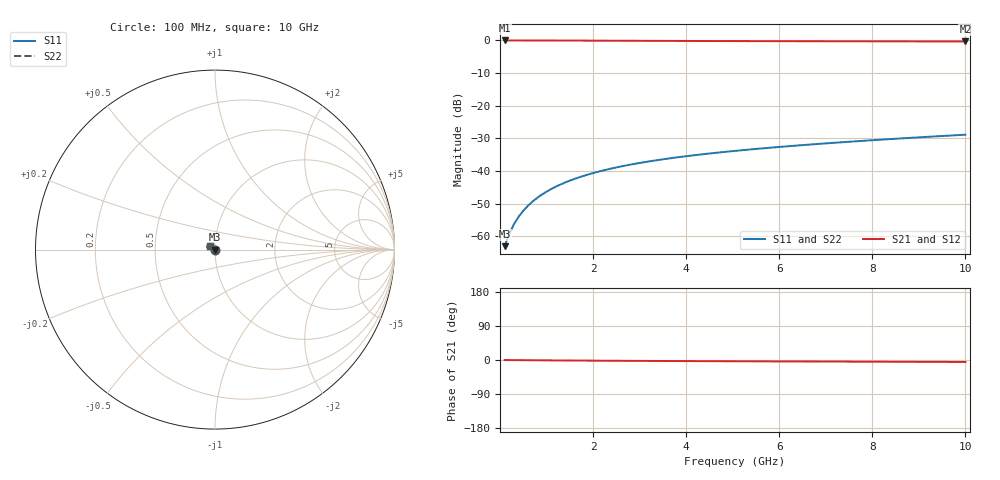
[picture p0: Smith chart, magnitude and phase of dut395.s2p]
! Touchstone file exported from HFSS 2024.1.0
!  File:  C:/UserFiles/LocalFiles/RDL_TSV_Batchsim/temp_TSV1_395_1779624209.aedt
!  Generated:  08:12:36 PM May 24, 2026
!  Design:  TSV1
!  Project:  temp_TSV1_395_1779624209
!  Setup:  Setup1
!  Solution:  Sweep
! Variables:
!  dtsv = 5.08um
!  hbump = 3um
!  htsv = 76.85um
!  lrdl = 252.1521522um
!  p = 40
!  p1 = 45.88um
!  t = 500um
!  trdl = 3um
!  wrdl = 24.89489489um
# GHz S MA R 50.000000
! Terminal data exported
! Port[1] = TSV22_T1
! Port[2] = TSV22_T2
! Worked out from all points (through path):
!   100 points, 100 MHz to 10 GHz, reference 50 ohm
!   highest |S21| = 0.00 dB at 100 MHz (marker M1); lowest = -0.3 dB at 10 GHz (marker M2)
!   lowest |S11| = -63.0 dB at 100 MHz (marker M3), VSWR 1.00, Z = 50.1 - j0.0499 ohm
!   |S11| at or under -10 dB: start of sweep to end of sweep
!   |S22| runs from -63.0 to -28.9 dB; largest |S21 - S12| = 5.1e-15
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0.1  0.000708 -44.8  0.9995 -0.1  0.9995 -0.1  0.000708 -44.8
! Gamma 0 0 0 0
! Port Impedance 50 0 50 0
0.2  0.001089 -66.2  0.9994 -0.2  0.9994 -0.2  0.001089 -66.2
0.3  0.001529 -77.3  0.9993 -0.3  0.9993 -0.3  0.001529 -77.3
0.4  0.001991 -84.4  0.9991 -0.4  0.9991 -0.4  0.001991 -84.4
0.5  0.002462 -89.7  0.9989 -0.5  0.9989 -0.5  0.002462 -89.7
0.6  0.002937 -93.9  0.9987 -0.6  0.9987 -0.6  0.002937 -93.9
0.7  0.003414 -97.5  0.9984 -0.7  0.9984 -0.7  0.003414 -97.5
0.8  0.003889 -100.8  0.9982 -0.7  0.9982 -0.7  0.003889 -100.8
0.9  0.004362 -103.8  0.9978 -0.8  0.9978 -0.8  0.004362 -103.8
1  0.004833 -106.6  0.9975 -0.9  0.9975 -0.9  0.004833 -106.6
1.2  0.005764 -111.8  0.9967 -1.1  0.9967 -1.1  0.005764 -111.8
1.5  0.007129 -119.0  0.9954 -1.3  0.9954 -1.3  0.007129 -119.0
1.8  0.00845 -125.7  0.9939 -1.6  0.9939 -1.6  0.00845 -125.7
2.1  0.009727 -131.9  0.9923 -1.8  0.9923 -1.8  0.009727 -131.9
2.5  0.01136 -139.8  0.9901 -2.1  0.9901 -2.1  0.01136 -139.8
2.9  0.01292 -147.0  0.9878 -2.3  0.9878 -2.3  0.01292 -147.0
3.4  0.01477 -155.3  0.9851 -2.6  0.9851 -2.6  0.01477 -155.3
4.2  0.01756 -167.1  0.9811 -3.0  0.9811 -3.0  0.01756 -167.1
5.1  0.02053 -178.4  0.9773 -3.4  0.9773 -3.4  0.02053 -178.4
6.7  0.02559 165.6  0.9722 -4.0  0.9722 -4.0  0.02559 165.6
8.4  0.03092 152.8  0.9683 -4.6  0.9683 -4.6  0.03092 152.8
10  0.03602 143.6  0.9657 -5.2  0.9657 -5.2  0.03602 143.6
